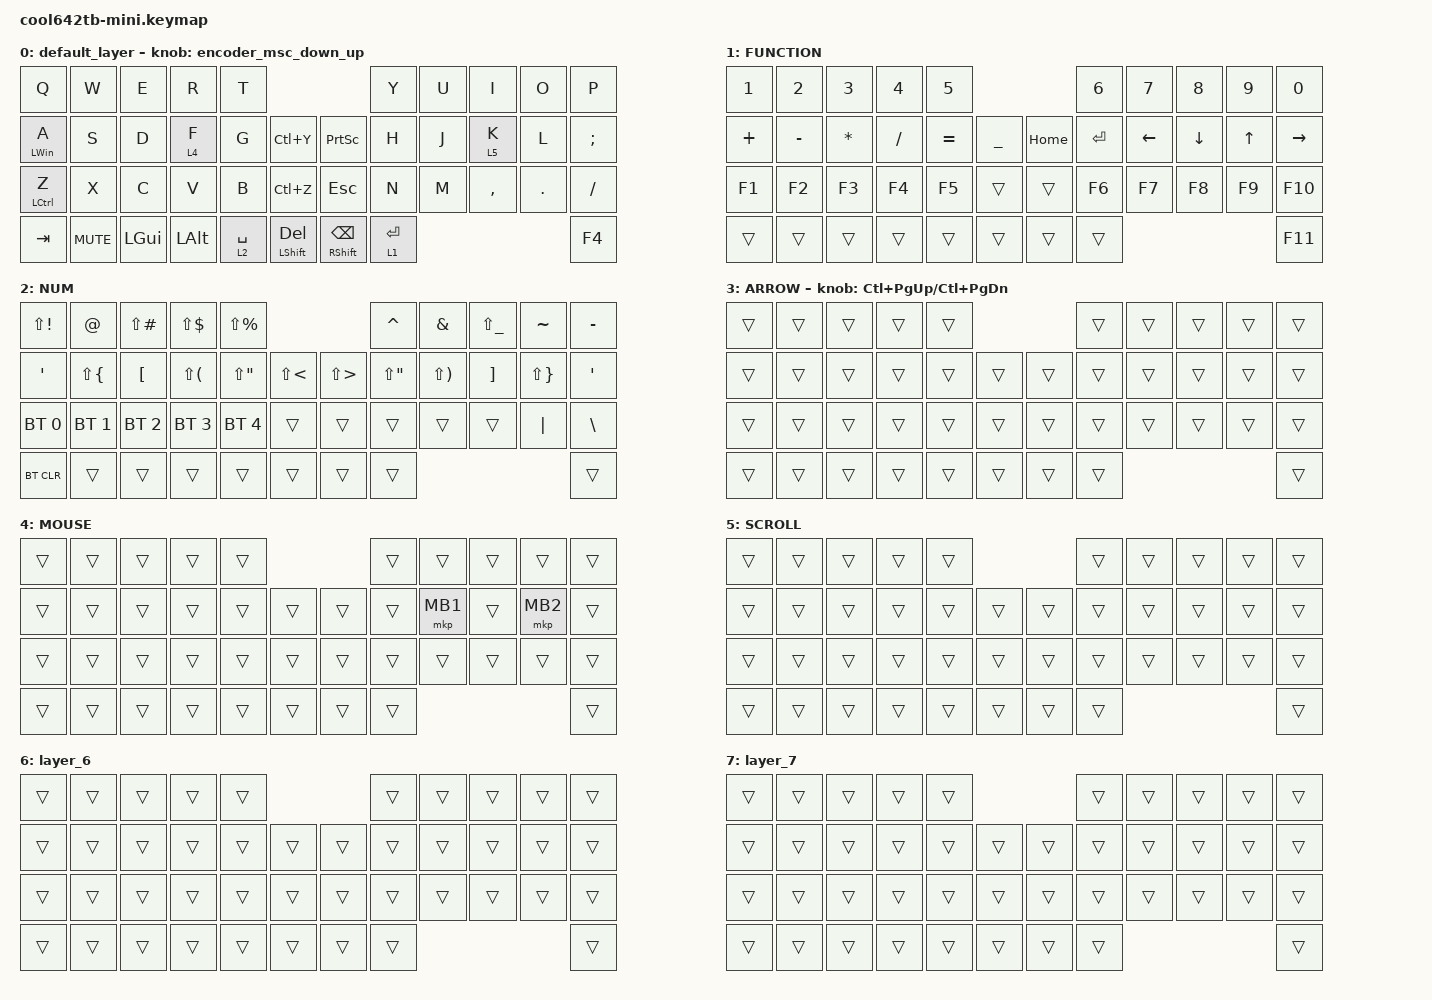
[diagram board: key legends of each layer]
#include "keycode_japanese.h"
#include <behaviors.dtsi>
#include <dt-bindings/zmk/bt.h>
#include <dt-bindings/zmk/keys.h>
#include <dt-bindings/zmk/pointing.h>


#define MOUSE 4
#define SCROLL 5
#define NUM 6
#define ZMK_POINTING_DEFAULT_SCRL_VAL 80





&msc {
    acceleration-exponent = <0>;      // 0
    time-to-max-speed-ms = <0>;       // 300
    delay-ms = <0>;                   // 0
};

&mmv {
    time-to-max-speed-ms = <0>;
    acceleration-exponent = <0>;
    trigger-period-ms = <10>;
    delay-ms = <0>;
};

&mt { 
    flavor = "balanced"; 
    tapping-term-ms = <200>;
    quick-tap-ms = <150>; 
};

&lt {
    flavor = "balanced";
    tapping-term-ms = <200>; 
    quick-tap-ms = <150>; 
};







/ {
    combos {
        compatible = "zmk,combos";

        shift_tab {
            bindings = <&kp LANG2>;
            key-positions = <12 13>;
        };

        lang {
            bindings = <&kp LANG1>;
            key-positions = <18 19>;
        };
    };

    behaviors {
        encoder_msc_down_up: encoder_msc_down_up {
            compatible = "zmk,behavior-sensor-rotate";
            label = "ENCODER_MSC_DOWN_UP";
            #sensor-binding-cells = <0>;
            bindings = <&msc SCRL_UP>,<&msc SCRL_DOWN>;
            tap-ms = <20>;
        };
    };


    keymap {
        compatible = "zmk,keymap";

        default_layer {
            bindings = <
&kp Q               &kp W       &kp E         &kp R         &kp T                                                    &kp Y        &kp U  &kp I      &kp O    &kp P
&mt LEFT_WIN A      &kp S       &kp D         &lt 4 F       &kp G        &kp LC(Y)              &kp PRINTSCREEN      &kp H        &kp J  &lt 5 K    &kp L    &kp SEMICOLON
&mt LEFT_CONTROL Z  &kp X       &kp C         &kp V         &kp B        &kp LC(Z)              &kp ESC              &kp N        &kp M  &kp COMMA  &kp DOT  &kp SLASH
&kp TAB             &kp C_MUTE  &kp LEFT_GUI  &kp LEFT_ALT  &lt 2 SPACE  &mt LSHIFT DELETE      &mt RSHFT BACKSPACE  &lt 1 ENTER                             &kp F4
            >;

            sensor-bindings = <&encoder_msc_down_up>;
        };

        FUNCTION {
            bindings = <
&kp N1    &kp N2     &kp N3     &kp N4     &kp N5                              &kp N6     &kp N7    &kp N8    &kp N9        &kp N0
&kp PLUS  &kp MINUS  &kp ASTRK  &kp SLASH  &kp EQUAL  &kp UNDER      &kp HOME  &kp ENTER  &kp LEFT  &kp DOWN  &kp UP_ARROW  &kp RIGHT
&kp F1    &kp F2     &kp F3     &kp F4     &kp F5     &trans         &trans    &kp F6     &kp F7    &kp F8    &kp F9        &kp F10
&trans    &trans     &trans     &trans     &trans     &trans         &trans    &trans                                       &kp F11
            >;
        };

        NUM {
            bindings = <
&kp LS(EXCL)  &kp AT        &kp LS(POUND)  &kp LS(DLLR)  &kp LS(PRCNT)                              &kp CARET    &kp AMPERSAND  &kp LS(UNDER)  &kp TILDE     &kp MINUS
&kp SQT       &kp LS(LBRC)  &kp LBKT       &kp LS(LPAR)  &kp LS(DQT)    &kp LS(LT)      &kp LS(GT)  &kp LS(DQT)  &kp LS(RPAR)   &kp RBKT       &kp LS(RBRC)  &kp SQT
&bt BT_SEL 0  &bt BT_SEL 1  &bt BT_SEL 2   &bt BT_SEL 3  &bt BT_SEL 4   &trans          &trans      &trans       &trans         &trans         &kp PIPE      &kp BACKSLASH
&bt BT_CLR    &trans        &trans         &trans        &trans         &trans          &trans      &trans                                                   &trans
            >;
        };

        ARROW {
            bindings = <
&trans  &trans  &trans  &trans  &trans                      &trans  &trans  &trans  &trans  &trans
&trans  &trans  &trans  &trans  &trans  &trans      &trans  &trans  &trans  &trans  &trans  &trans
&trans  &trans  &trans  &trans  &trans  &trans      &trans  &trans  &trans  &trans  &trans  &trans
&trans  &trans  &trans  &trans  &trans  &trans      &trans  &trans                          &trans
            >;

            sensor-bindings = <&inc_dec_kp LC(PAGE_UP) LC(PAGE_DOWN)>;
        };

        MOUSE {
            bindings = <
&trans  &trans  &trans  &trans  &trans                      &trans  &trans    &trans  &trans    &trans
&trans  &trans  &trans  &trans  &trans  &trans      &trans  &trans  &mkp MB1  &trans  &mkp MB2  &trans
&trans  &trans  &trans  &trans  &trans  &trans      &trans  &trans  &trans    &trans  &trans    &trans
&trans  &trans  &trans  &trans  &trans  &trans      &trans  &trans                              &trans
            >;
        };

        SCROLL {
            bindings = <
&trans  &trans  &trans  &trans  &trans                      &trans  &trans  &trans  &trans  &trans
&trans  &trans  &trans  &trans  &trans  &trans      &trans  &trans  &trans  &trans  &trans  &trans
&trans  &trans  &trans  &trans  &trans  &trans      &trans  &trans  &trans  &trans  &trans  &trans
&trans  &trans  &trans  &trans  &trans  &trans      &trans  &trans                          &trans
            >;
        };

        layer_6 {
            bindings = <
&trans  &trans  &trans  &trans  &trans                      &trans  &trans  &trans  &trans  &trans
&trans  &trans  &trans  &trans  &trans  &trans      &trans  &trans  &trans  &trans  &trans  &trans
&trans  &trans  &trans  &trans  &trans  &trans      &trans  &trans  &trans  &trans  &trans  &trans
&trans  &trans  &trans  &trans  &trans  &trans      &trans  &trans                          &trans
            >;
        };

        layer_7 {
            bindings = <
&trans  &trans  &trans  &trans  &trans                      &trans  &trans  &trans  &trans  &trans
&trans  &trans  &trans  &trans  &trans  &trans      &trans  &trans  &trans  &trans  &trans  &trans
&trans  &trans  &trans  &trans  &trans  &trans      &trans  &trans  &trans  &trans  &trans  &trans
&trans  &trans  &trans  &trans  &trans  &trans      &trans  &trans                          &trans
            >;
        };
    };
};
